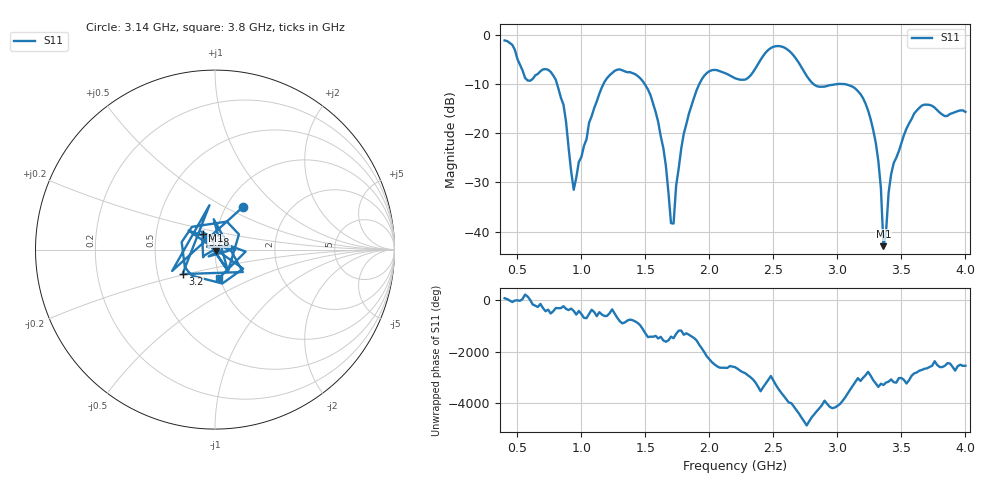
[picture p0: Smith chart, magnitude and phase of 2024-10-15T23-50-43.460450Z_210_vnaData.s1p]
! Created with skrf (http://scikit-rf.org).
# Hz S RI R 50.0
!freq ReS11 ImS11
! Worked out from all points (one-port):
!   181 points, 400 MHz to 4 GHz, reference 50 ohm
!   lowest |S11| = -43.0 dB at 3.36 GHz (marker M1), VSWR 1.01, Z = 50.4 - j0.609 ohm
!   |S11| at or under -10 dB: 809.3 MHz to 1.173 GHz (363.7 MHz wide, 36.7 % of centre); 1.493 GHz to 1.922 GHz (428.9 MHz wide, 25.1 % of centre); 2.812 GHz to end of sweep
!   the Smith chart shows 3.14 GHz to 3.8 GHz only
!   S11 on the Smith chart (normalised r, x): 3.14 GHz: 1.19, +0.62; 3.2 GHz: 0.67, -0.19; 3.28 GHz: 0.86, +0.15; 3.8 GHz: 0.99, -0.33
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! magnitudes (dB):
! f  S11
! 400 MHz  -1.2
! 580 MHz  -9.3
! 760 MHz  -7.6
! 860 MHz  -14.2
! 940 MHz  -31.5
! 1.14 GHz  -12.0
! 1.3 GHz  -7.1
! 1.54 GHz  -12.3
! 1.64 GHz  -23.0
! 1.7 GHz  -38.3
! 1.72 GHz  -38.4
! 1.76 GHz  -27.2
! 1.84 GHz  -16.1
! 1.94 GHz  -9.1
! 2.2 GHz  -8.9
! 2.5 GHz  -2.5
! 2.66 GHz  -4.3
! 2.84 GHz  -10.5
! 3.1 GHz  -10.4
! 3.14 GHz  -11.0
! 3.2 GHz  -12.9
! 3.28 GHz  -19.4
! 3.34 GHz  -31.2
! 3.36 GHz  -43.0
! 3.42 GHz  -28.3
! 3.56 GHz  -18.0
! 3.8 GHz  -15.9
! 4 GHz  -15.7
